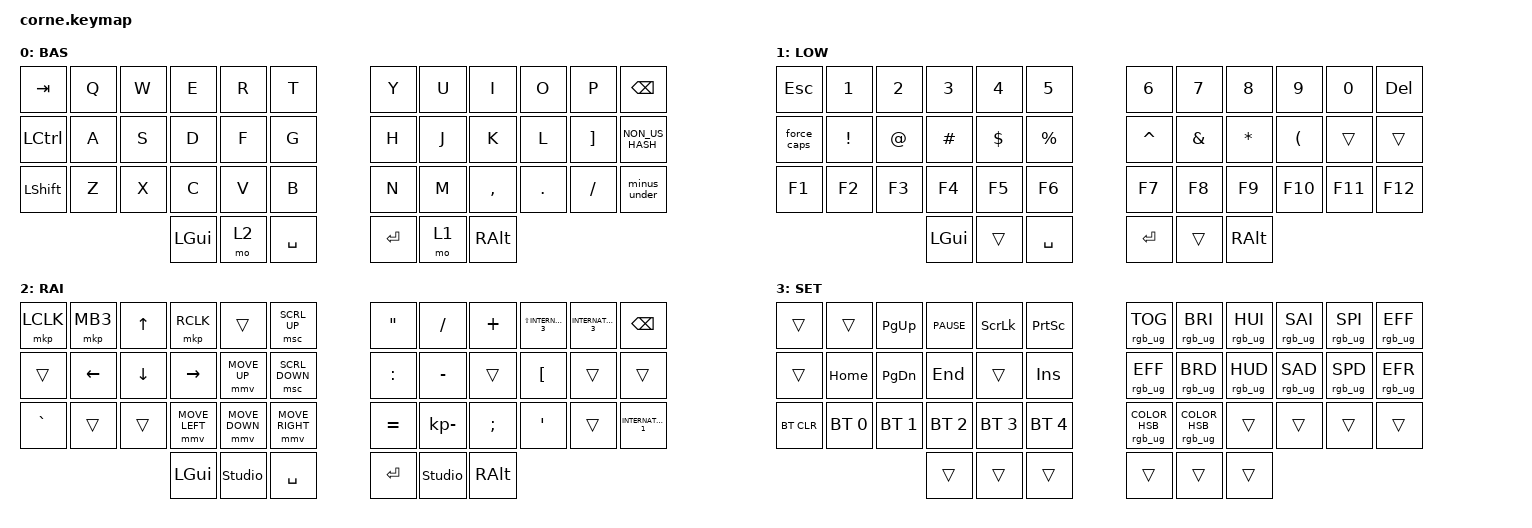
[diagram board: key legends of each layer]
/*
 * Copyright (c) 2020 The ZMK Contributors
 *
 * SPDX-License-Identifier: MIT
 */

#include <dt-bindings/led/led.h>
#include <dt-bindings/zmk/reset.h>
#include <behaviors.dtsi>
#include <dt-bindings/zmk/bt.h>
#include <dt-bindings/zmk/keys.h>
#include <dt-bindings/zmk/pointing.h>
#include <dt-bindings/zmk/rgb.h>

&led_strip { chain-length = <27>; };

/ {
    /* --- 追加：独自の挙動（Mod-Morph）の定義 --- */

    behaviors {
        minus_under: minus_under {
            compatible = "zmk,behavior-mod-morph";
            #binding-cells = <0>;
            bindings = <&kp MINUS>, <&kp LS(INTERNATIONAL_1)>;

            mods = <(MOD_LSFT|MOD_RSFT)>;
        };

        /* --- caps lock --- */

        force_caps: force_caps {
            compatible = "zmk,behavior-mod-morph";
            #binding-cells = <0>;
            bindings = <&kp LS(CLCK)>, <&kp CLCK>;

            mods = <(MOD_LSFT|MOD_RSFT)>;
        };
    };

    keymap {
        compatible = "zmk,keymap";

        default_layer {
            display-name = "BAS";

            // -----------------------------------------------------------------------------------------
            // |  TAB |  Q  |  W  |  E  |  R  |  T  |   |  Y  |  U   |  I  |  O  |  P  | BKSP |
            // | CTRL |  A  |  S  |  D  |  F  |  G  |   |  H  |  J   |  K  |  L  |  ;  |  '   |
            // | SHFT |  Z  |  X  |  C  |  V  |  B  |   |  N  |  M   |  ,  |  .  |  /  | ESC  |
            //                    | GUI | LWR | SPC |   | ENT | RSE  | ALT |

            bindings = <
&kp TAB    &kp Q  &kp W  &kp E     &kp R  &kp T        &kp Y    &kp U  &kp I      &kp O    &kp P              &kp BSPC
&kp LCTRL  &kp A  &kp S  &kp D     &kp F  &kp G        &kp H    &kp J  &kp K      &kp L    &kp RIGHT_BRACKET  &kp NON_US_HASH
&kp LSHFT  &kp Z  &kp X  &kp C     &kp V  &kp B        &kp N    &kp M  &kp COMMA  &kp DOT  &kp FSLH           &minus_under
                         &kp LGUI  &mo 2  &kp SPACE    &kp RET  &mo 1  &kp RALT
            >;
        };

        lower_layer {
            display-name = "LOW";

            // -----------------------------------------------------------------------------------------
            // |  TAB |  1  |  2  |  3  |  4  |  5  |   |  6  |  7  |  8  |  9  |  0  | BKSP |
            // | BTCLR| BT1 | BT2 | BT3 | BT4 | BT5 |   | LFT | DWN |  UP | RGT |     |      |
            // | SHFT |     |     |     |     |     |   |     |     |     |     |     |      |
            //                    | GUI |     | SPC |   | ENT |     | ALT |

            bindings = <
&kp ESCAPE   &kp N1           &kp N2       &kp N3    &kp N4      &kp N5         &kp N6     &kp N7         &kp N8        &kp N9                &kp N0   &kp DELETE
&force_caps  &kp EXCLAMATION  &kp AT_SIGN  &kp HASH  &kp DOLLAR  &kp PERCENT    &kp CARET  &kp AMPERSAND  &kp ASTERISK  &kp LEFT_PARENTHESIS  &trans   &trans
&kp F1       &kp F2           &kp F3       &kp F4    &kp F5      &kp F6         &kp F7     &kp F8         &kp F9        &kp F10               &kp F11  &kp F12
                                           &kp LGUI  &trans      &kp SPACE      &kp RET    &trans         &kp RALT
            >;
        };

        raise_layer {
            display-name = "RAI";

            // -----------------------------------------------------------------------------------------
            // |  TAB |  !  |  @  |  #  |  $  |  %  |   |  ^  |  &  |  *  |  (  |  )  | BKSP |
            // | CTRL |     |     |     |     |     |   |  -  |  =  |  [  |  ]  |  \  |  `   |
            // | SHFT |     |     |     |     |     |   |  _  |  +  |  {  |  }  | "|" |  ~   |
            //                    | GUI |     | SPC |   | ENT |     | ALT |

            bindings = <
&mkp LCLK  &mkp MB3  &kp UP    &mkp RCLK       &trans          &msc SCRL_UP       &kp DQT    &kp SLASH       &kp PLUS       &kp LS(INTERNATIONAL_3)  &kp INTERNATIONAL_3  &kp BSPC
&trans     &kp LEFT  &kp DOWN  &kp RIGHT       &mmv MOVE_UP    &msc SCRL_DOWN     &kp COLON  &kp MINUS       &trans         &kp LEFT_BRACKET         &trans               &trans
&kp GRAVE  &trans    &trans    &mmv MOVE_LEFT  &mmv MOVE_DOWN  &mmv MOVE_RIGHT    &kp EQUAL  &kp KP_MINUS    &kp SEMICOLON  &kp SINGLE_QUOTE         &trans               &kp INTERNATIONAL_1
                               &kp LGUI        &studio_unlock  &kp SPACE          &kp RET    &studio_unlock  &kp RALT
            >;
        };

        setting_layer {
            display-name = "SET";
            bindings = <
&trans      &trans        &kp PAGE_UP    &kp C_PAUSE   &kp SCROLLLOCK  &kp PRINTSCREEN    &rgb_ug RGB_TOG                 &rgb_ug RGB_BRI                    &rgb_ug RGB_HUI  &rgb_ug RGB_SAI  &rgb_ug RGB_SPI  &rgb_ug RGB_EFF
&trans      &kp HOME      &kp PAGE_DOWN  &kp END       &trans          &kp INSERT         &rgb_ug RGB_EFF                 &rgb_ug RGB_BRD                    &rgb_ug RGB_HUD  &rgb_ug RGB_SAD  &rgb_ug RGB_SPD  &rgb_ug RGB_EFR
&bt BT_CLR  &bt BT_SEL 0  &bt BT_SEL 1   &bt BT_SEL 2  &bt BT_SEL 3    &bt BT_SEL 4       &rgb_ug RGB_COLOR_HSB(0,0,100)  &rgb_ug RGB_COLOR_HSB(236,100,50)  &trans           &trans           &trans           &trans
                                         &trans        &trans          &trans             &trans                          &trans                             &trans
            >;
        };

        extra_2 { status = "reserved"; };

        extra_3 { status = "reserved"; };
    };

    conditional_layers {
        compatible = "zmk,conditional-layers";

        SET {
            if-layers = <1 2>;
            then-layer = <3>;
        };
    };
};
